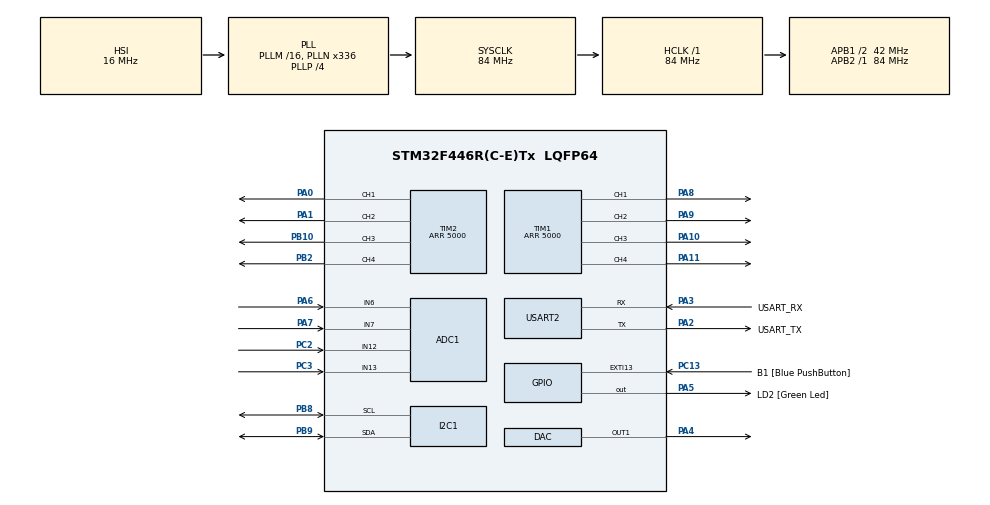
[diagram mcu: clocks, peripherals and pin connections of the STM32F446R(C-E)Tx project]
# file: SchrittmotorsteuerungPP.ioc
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ADC1.Channel-0\#ChannelRegularConversion=ADC_CHANNEL_6
ADC1.Channel-1\#ChannelRegularConversion=ADC_CHANNEL_7
ADC1.Channel-2\#ChannelRegularConversion=ADC_CHANNEL_12
ADC1.Channel-3\#ChannelRegularConversion=ADC_CHANNEL_13
ADC1.ContinuousConvMode=DISABLE
ADC1.DMAContinuousRequests=ENABLE
ADC1.EOCSelection=ADC_EOC_SEQ_CONV
ADC1.ExternalTrigConv=ADC_EXTERNALTRIGCONV_T2_TRGO
ADC1.ExternalTrigConvEdge=ADC_EXTERNALTRIGCONVEDGE_RISING
ADC1.NbrOfConversion=4
ADC1.NbrOfConversionFlag=1
ADC1.Rank-0\#ChannelRegularConversion=1
ADC1.Rank-1\#ChannelRegularConversion=2
ADC1.Rank-2\#ChannelRegularConversion=3
ADC1.Rank-3\#ChannelRegularConversion=4
ADC1.SamplingTime-0\#ChannelRegularConversion=ADC_SAMPLETIME_3CYCLES
ADC1.SamplingTime-1\#ChannelRegularConversion=ADC_SAMPLETIME_3CYCLES
ADC1.SamplingTime-2\#ChannelRegularConversion=ADC_SAMPLETIME_3CYCLES
ADC1.SamplingTime-3\#ChannelRegularConversion=ADC_SAMPLETIME_3CYCLES
ADC1.ScanConvMode=ENABLE
ADC1.master=1
Dma.ADC1.0.Direction=DMA_PERIPH_TO_MEMORY
Dma.ADC1.0.FIFOMode=DMA_FIFOMODE_DISABLE
Dma.ADC1.0.Instance=DMA2_Stream0
Dma.ADC1.0.MemDataAlignment=DMA_MDATAALIGN_WORD
Dma.ADC1.0.MemInc=DMA_MINC_ENABLE
Dma.ADC1.0.Mode=DMA_CIRCULAR
Dma.ADC1.0.PeriphDataAlignment=DMA_PDATAALIGN_WORD
Dma.ADC1.0.PeriphInc=DMA_PINC_DISABLE
Dma.ADC1.0.Priority=DMA_PRIORITY_VERY_HIGH
Dma.Request0=ADC1
I2C1.I2C_Mode=I2C_Fast
Mcu.Family=STM32F4
Mcu.Name=STM32F446R(C-E)Tx
Mcu.Package=LQFP64
NVIC.ADC_IRQn=true\:0\:0\:false\:false\:true\:true\:true\:true
NVIC.DMA2_Stream0_IRQn=true\:0\:0\:false\:false\:true\:false\:true\:true
NVIC.EXTI15_10_IRQn=true\:0\:0\:false\:false\:true\:true\:true\:true
NVIC.PriorityGroup=NVIC_PRIORITYGROUP_0
NVIC.TIM2_IRQn=true\:0\:0\:true\:false\:true\:true\:true\:true
NVIC.TIM3_IRQn=true\:0\:0\:false\:false\:true\:true\:true\:true
NVIC.USART2_IRQn=true\:0\:0\:false\:false\:true\:true\:true\:true
PA0-WKUP.GPIO_PuPd=GPIO_PULLDOWN
PA0-WKUP.GPIO_Speed=GPIO_SPEED_FREQ_VERY_HIGH
PA0-WKUP.Signal=S_TIM2_CH1_ETR
PA1.GPIO_PuPd=GPIO_PULLDOWN
PA1.GPIO_Speed=GPIO_SPEED_FREQ_VERY_HIGH
PA1.Signal=S_TIM2_CH2
PA10.GPIO_PuPd=GPIO_PULLDOWN
PA10.GPIO_Speed=GPIO_SPEED_FREQ_VERY_HIGH
PA10.Signal=S_TIM1_CH3
PA11.GPIO_PuPd=GPIO_PULLDOWN
PA11.GPIO_Speed=GPIO_SPEED_FREQ_VERY_HIGH
PA11.Signal=S_TIM1_CH4
PA13.GPIO_Label=TMS
PA13.Mode=Serial_Wire
PA13.Signal=SYS_JTMS-SWDIO
PA14.GPIO_Label=TCK
PA14.Mode=Serial_Wire
PA14.Signal=SYS_JTCK-SWCLK
PA2.GPIO_Label=USART_TX
PA2.Mode=Asynchronous
PA2.Signal=USART2_TX
PA3.GPIO_Label=USART_RX
PA3.Mode=Asynchronous
PA3.Signal=USART2_RX
PA4.Signal=COMP_DAC1_group
PA5.GPIO_Label=LD2 [Green Led]
PA5.Signal=GPIO_Output
PA6.GPIO_PuPd=GPIO_NOPULL
PA6.Signal=ADCx_IN6
PA7.Signal=ADCx_IN7
PA8.GPIO_PuPd=GPIO_PULLDOWN
PA8.GPIO_Speed=GPIO_SPEED_FREQ_VERY_HIGH
PA8.Signal=S_TIM1_CH1
PA9.GPIO_PuPd=GPIO_PULLDOWN
PA9.GPIO_Speed=GPIO_SPEED_FREQ_VERY_HIGH
PA9.Signal=S_TIM1_CH2
PB10.GPIO_PuPd=GPIO_PULLDOWN
PB10.GPIO_Speed=GPIO_SPEED_FREQ_VERY_HIGH
PB10.Signal=S_TIM2_CH3
PB2.GPIO_PuPd=GPIO_PULLDOWN
PB2.GPIO_Speed=GPIO_SPEED_FREQ_VERY_HIGH
PB2.Signal=S_TIM2_CH4
PB3.GPIO_Label=SWO
PB3.Signal=SYS_JTDO-SWO
PB8.GPIO_Pu=GPIO_PULLUP
PB8.Mode=I2C
PB8.Signal=I2C1_SCL
PB9.GPIO_Pu=GPIO_PULLUP
PB9.Mode=I2C
PB9.Signal=I2C1_SDA
PC13.GPIO_Label=B1 [Blue PushButton]
PC13.GPIO_ModeDefaultEXTI=GPIO_MODE_IT_FALLING
PC13.Signal=GPXTI13
PC14-OSC32_IN.Mode=LSE-External-Oscillator
PC14-OSC32_IN.Signal=RCC_OSC32_IN
PC15-OSC32_OUT.Mode=LSE-External-Oscillator
PC15-OSC32_OUT.Signal=RCC_OSC32_OUT
PC2.Signal=ADCx_IN12
PC3.Signal=ADCx_IN13
PH0-OSC_IN.Mode=HSE-External-Oscillator
PH0-OSC_IN.Signal=RCC_OSC_IN
PH1-OSC_OUT.Mode=HSE-External-Oscillator
PH1-OSC_OUT.Signal=RCC_OSC_OUT
ProjectManager.HeapSize=0x200
ProjectManager.StackSize=0x400
ProjectManager.TargetToolchain=STM32CubeIDE
RCC.48MHZClocksFreq_Value=84000000
RCC.AHBFreq_Value=84000000
RCC.APB1CLKDivider=RCC_HCLK_DIV2
RCC.APB1Freq_Value=42000000
RCC.APB1TimFreq_Value=84000000
RCC.APB2Freq_Value=84000000
RCC.APB2TimFreq_Value=84000000
RCC.CortexFreq_Value=84000000
RCC.FLatency-AdvancedSettings=FLASH_LATENCY_2
RCC.HCLKFreq_Value=84000000
RCC.HSE_VALUE=8000000
RCC.HSI_VALUE=16000000
RCC.PLLN=336
RCC.PLLP=RCC_PLLP_DIV4
RCC.SYSCLKFreq_VALUE=84000000
RCC.SYSCLKSource=RCC_SYSCLKSOURCE_PLLCLK
RCC.USBFreq_Value=168000000
RCC.VCOOutputFreq_Value=336000000
SH.ADCx_IN12.0=ADC1_IN12,IN12
SH.ADCx_IN13.0=ADC1_IN13,IN13
SH.ADCx_IN6.0=ADC1_IN6,IN6
SH.ADCx_IN7.0=ADC1_IN7,IN7
SH.COMP_DAC1_group.0=DAC_OUT1,DAC_OUT1
SH.S_TIM1_CH1.0=TIM1_CH1,PWM Generation1 CH1
SH.S_TIM1_CH2.0=TIM1_CH2,PWM Generation2 CH2
SH.S_TIM1_CH3.0=TIM1_CH3,PWM Generation3 CH3
SH.S_TIM1_CH4.0=TIM1_CH4,PWM Generation4 CH4
SH.S_TIM2_CH1_ETR.0=TIM2_CH1,PWM Generation1 CH1
SH.S_TIM2_CH2.0=TIM2_CH2,PWM Generation2 CH2
SH.S_TIM2_CH3.0=TIM2_CH3,PWM Generation3 CH3
SH.S_TIM2_CH4.0=TIM2_CH4,PWM Generation4 CH4
TIM1.Channel-PWM\ Generation1\ CH1=TIM_CHANNEL_1
TIM1.Channel-PWM\ Generation2\ CH2=TIM_CHANNEL_2
TIM1.Channel-PWM\ Generation3\ CH3=TIM_CHANNEL_3
TIM1.Channel-PWM\ Generation4\ CH4=TIM_CHANNEL_4
TIM1.CounterMode=TIM_COUNTERMODE_CENTERALIGNED1
TIM1.Period=5000
TIM2.Channel-PWM\ Generation1\ CH1=TIM_CHANNEL_1
TIM2.Channel-PWM\ Generation2\ CH2=TIM_CHANNEL_2
TIM2.Channel-PWM\ Generation3\ CH3=TIM_CHANNEL_3
TIM2.Channel-PWM\ Generation4\ CH4=TIM_CHANNEL_4
TIM2.CounterMode=TIM_COUNTERMODE_CENTERALIGNED1
TIM2.Period=5000
TIM2.TIM_MasterOutputTrigger=TIM_TRGO_UPDATE
TIM3.AutoReloadPreload=TIM_AUTORELOAD_PRELOAD_ENABLE
TIM3.Period=300
TIM3.Prescaler=84
TIM3.TIM_MasterOutputTrigger=TIM_TRGO_UPDATE
USART2.VirtualMode=VM_ASYNC
VP_TIM1_VS_ClockSourceINT.Mode=Internal
VP_TIM2_VS_ClockSourceINT.Mode=Internal
VP_TIM3_VS_ClockSourceINT.Mode=Internal
board=NUCLEO-F446RE

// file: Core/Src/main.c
/* USER CODE BEGIN Header */
/**
  ******************************************************************************
  * @file           : main.c
  * @brief          : Main program body
  ******************************************************************************
  * @attention
  *
  * Copyright (c) 2023 STMicroelectronics.
  * All rights reserved.
  *
  * This software is licensed under terms that can be found in the LICENSE file
  * in the root directory of this software component.
  * If no LICENSE file comes with this software, it is provided AS-IS.
  *
  ******************************************************************************
  */
/* USER CODE END Header */
#include "main.h"

/* USER CODE BEGIN Includes */

// Includes all C++ headers
#include "Interface.hpp"

// General include
#include <math.h>
#include <stdio.h>
#include <string.h>

#include "stm32f4xx_it.h"
#include "stm32f4xx_hal_rcc.h"

#include "ADC.h"
#include "DAC.h"
#include "PWM.h"
#include "STEP.h"
#include "Calibration.h"

/* USER CODE END Includes */

ADC_HandleTypeDef hadc1;
DMA_HandleTypeDef hdma_adc1;

DAC_HandleTypeDef hdac;

I2C_HandleTypeDef hi2c1;

TIM_HandleTypeDef htim1;
TIM_HandleTypeDef htim2;
TIM_HandleTypeDef htim3;

UART_HandleTypeDef huart2;

/* USER CODE BEGIN PV */

struct Coil A1;
struct Coil A2;
struct Coil B1;
struct Coil B2;

struct Status M_state;

int position = 0;		// Position in lookup table
uint32_t value[4];		// Array for DMA ADC values
int flag = 0;			// Measure flag
uint32_t mBuff[30][4];	// Measure buffer
int tCnt = 0;			// Counter fuer Mittelwerte
uint32_t val[4];		// Global array -> I_Controller

// UART configuration
#define length  8
uint8_t buffer[length];	// Buffer for UART RX

/* USER CODE END PV */

void SystemClock_Config(void);
static void MX_GPIO_Init(void);
static void MX_DMA_Init(void);
static void MX_USART2_UART_Init(void);
static void MX_I2C1_Init(void);
static void MX_TIM1_Init(void);
static void MX_TIM2_Init(void);
static void MX_ADC1_Init(void);
static void MX_DAC_Init(void);
static void MX_TIM3_Init(void);

int main(void)
{

  /* MCU Configuration--------------------------------------------------------*/

  /* Reset of all peripherals, Initializes the Flash interface and the Systick. */
  HAL_Init();

  /* Configure the system clock */
  SystemClock_Config();

  /* Initialize all configured peripherals */
  MX_GPIO_Init();
  MX_DMA_Init();
  MX_USART2_UART_Init();
  MX_I2C1_Init();
  MX_TIM1_Init();
  MX_TIM2_Init();
  MX_ADC1_Init();
  MX_DAC_Init();
  MX_TIM3_Init();
  /* USER CODE BEGIN 2 */

  // Start all PWM timers
  HAL_TIM_Base_Start_IT(&htim1);
  HAL_TIM_Base_Start_IT(&htim2);

  // Setup structures for coils

  // Coil A1;
  A1.HS_timer = &htim1;
  A1.HS_channel = 3;
  A1.LS_timer = &htim1;
  A1.LS_channel = 4;
  A1.Shunt = 0;

  // Coil A2;
  A2.HS_timer = &htim2;
  A2.HS_channel = 4;
  A2.LS_timer = &htim2;
  A2.LS_channel = 3;
  A2.Shunt = 1;

  // Coil B1;
  B1.HS_timer = &htim2;
  B1.HS_channel = 1;
  B1.LS_timer = &htim1;
  B1.LS_channel = 1;
  B1.Shunt = 2;

  // Coil B2;
  B2.HS_timer = &htim1;
  B2.HS_channel = 2;
  B2.LS_timer = &htim2;
  B2.LS_channel = 2;
  B2.Shunt = 3;

  // Machine state initialization
  M_state.ON = 0;
  M_state.SPEED = 0;
  M_state.S_LOSS = 0;
  M_state.S_TYPE = 0;
  M_state.STEPS = 0;
  M_state.active = 0;
  M_state.I_max = 0.150;

  // Start PWM on each channel
  HAL_TIM_PWM_Start(&htim1, TIM_CHANNEL_1);
  HAL_TIM_PWM_Start(&htim1, TIM_CHANNEL_2);
  HAL_TIM_PWM_Start(&htim1, TIM_CHANNEL_3);
  HAL_TIM_PWM_Start(&htim1, TIM_CHANNEL_4);

  HAL_TIM_PWM_Start(&htim2, TIM_CHANNEL_1);
  HAL_TIM_PWM_Start(&htim2, TIM_CHANNEL_2);
  HAL_TIM_PWM_Start(&htim2, TIM_CHANNEL_3);
  HAL_TIM_PWM_Start(&htim2, TIM_CHANNEL_4);

  printf("Schrittmotorsteuerung V2 gestartet!\n");

  // I2C Display
  DisplayInit();
  DisplayWrite("V2 Started!");

  // Start UART RX
  HAL_UART_Receive_IT(&huart2, buffer, length);

  // Kalibrierung (Einlesen des Motors)
  SetSpeed(1000, 10*84);
  Calibrate();
  tCnt = 0;

  /* USER CODE END 2 */

  /* Infinite loop */
  /* USER CODE BEGIN WHILE */
  while (1)
  {
	  // Anzahl der Messungen zwischen den Reglerzyklen
	  int messungen = 3;

	  Continuous(messungen, M_state.S_LOSS);

    /* USER CODE END WHILE */

  }
}

void SystemClock_Config(void)
{
  RCC_OscInitTypeDef RCC_OscInitStruct = {0};
  RCC_ClkInitTypeDef RCC_ClkInitStruct = {0};

  /** Configure the main internal regulator output voltage
  */
  __HAL_RCC_PWR_CLK_ENABLE();
  __HAL_PWR_VOLTAGESCALING_CONFIG(PWR_REGULATOR_VOLTAGE_SCALE3);

  /** Initializes the RCC Oscillators according to the specified parameters
  * in the RCC_OscInitTypeDef structure.
  */
  RCC_OscInitStruct.OscillatorType = RCC_OSCILLATORTYPE_HSI;
  RCC_OscInitStruct.HSIState = RCC_HSI_ON;
  RCC_OscInitStruct.HSICalibrationValue = RCC_HSICALIBRATION_DEFAULT;
  RCC_OscInitStruct.PLL.PLLState = RCC_PLL_ON;
  RCC_OscInitStruct.PLL.PLLSource = RCC_PLLSOURCE_HSI;
  RCC_OscInitStruct.PLL.PLLM = 16;
  RCC_OscInitStruct.PLL.PLLN = 336;
  RCC_OscInitStruct.PLL.PLLP = RCC_PLLP_DIV4;
  RCC_OscInitStruct.PLL.PLLQ = 2;
  RCC_OscInitStruct.PLL.PLLR = 2;
  if (HAL_RCC_OscConfig(&RCC_OscInitStruct) != HAL_OK)
  {
    Error_Handler();
  }

  /** Initializes the CPU, AHB and APB buses clocks
  */
  RCC_ClkInitStruct.ClockType = RCC_CLOCKTYPE_HCLK|RCC_CLOCKTYPE_SYSCLK
                              |RCC_CLOCKTYPE_PCLK1|RCC_CLOCKTYPE_PCLK2;
  RCC_ClkInitStruct.SYSCLKSource = RCC_SYSCLKSOURCE_PLLCLK;
  RCC_ClkInitStruct.AHBCLKDivider = RCC_SYSCLK_DIV1;
  RCC_ClkInitStruct.APB1CLKDivider = RCC_HCLK_DIV2;
  RCC_ClkInitStruct.APB2CLKDivider = RCC_HCLK_DIV1;

  if (HAL_RCC_ClockConfig(&RCC_ClkInitStruct, FLASH_LATENCY_2) != HAL_OK)
  {
    Error_Handler();
  }
}

static void MX_ADC1_Init(void)
{

  ADC_ChannelConfTypeDef sConfig = {0};

  /** Configure the global features of the ADC (Clock, Resolution, Data Alignment and number of conversion)
  */
  hadc1.Instance = ADC1;
  hadc1.Init.ClockPrescaler = ADC_CLOCK_SYNC_PCLK_DIV4;
  hadc1.Init.Resolution = ADC_RESOLUTION_12B;
  hadc1.Init.ScanConvMode = ENABLE;
  hadc1.Init.ContinuousConvMode = DISABLE;
  hadc1.Init.DiscontinuousConvMode = DISABLE;
  hadc1.Init.ExternalTrigConvEdge = ADC_EXTERNALTRIGCONVEDGE_RISING;
  hadc1.Init.ExternalTrigConv = ADC_EXTERNALTRIGCONV_T2_TRGO;
  hadc1.Init.DataAlign = ADC_DATAALIGN_RIGHT;
  hadc1.Init.NbrOfConversion = 4;
  hadc1.Init.DMAContinuousRequests = ENABLE;
  hadc1.Init.EOCSelection = ADC_EOC_SEQ_CONV;
  if (HAL_ADC_Init(&hadc1) != HAL_OK)
  {
    Error_Handler();
  }

  /** Configure for the selected ADC regular channel its corresponding rank in the sequencer and its sample time.
  */
  sConfig.Channel = ADC_CHANNEL_6;
  sConfig.Rank = 1;
  sConfig.SamplingTime = ADC_SAMPLETIME_3CYCLES;
  if (HAL_ADC_ConfigChannel(&hadc1, &sConfig) != HAL_OK)
  {
    Error_Handler();
  }

  /** Configure for the selected ADC regular channel its corresponding rank in the sequencer and its sample time.
  */
  sConfig.Channel = ADC_CHANNEL_7;
  sConfig.Rank = 2;
  if (HAL_ADC_ConfigChannel(&hadc1, &sConfig) != HAL_OK)
  {
    Error_Handler();
  }

  /** Configure for the selected ADC regular channel its corresponding rank in the sequencer and its sample time.
  */
  sConfig.Channel = ADC_CHANNEL_12;
  sConfig.Rank = 3;
  if (HAL_ADC_ConfigChannel(&hadc1, &sConfig) != HAL_OK)
  {
    Error_Handler();
  }

  /** Configure for the selected ADC regular channel its corresponding rank in the sequencer and its sample time.
  */
  sConfig.Channel = ADC_CHANNEL_13;
  sConfig.Rank = 4;
  if (HAL_ADC_ConfigChannel(&hadc1, &sConfig) != HAL_OK)
  {
    Error_Handler();
  }

}

static void MX_DAC_Init(void)
{

  DAC_ChannelConfTypeDef sConfig = {0};

  /** DAC Initialization
  */
  hdac.Instance = DAC;
  if (HAL_DAC_Init(&hdac) != HAL_OK)
  {
    Error_Handler();
  }

  /** DAC channel OUT1 config
  */
  sConfig.DAC_Trigger = DAC_TRIGGER_NONE;
  sConfig.DAC_OutputBuffer = DAC_OUTPUTBUFFER_ENABLE;
  if (HAL_DAC_ConfigChannel(&hdac, &sConfig, DAC_CHANNEL_1) != HAL_OK)
  {
    Error_Handler();
  }

}

static void MX_I2C1_Init(void)
{

  hi2c1.Instance = I2C1;
  hi2c1.Init.ClockSpeed = 400000;
  hi2c1.Init.DutyCycle = I2C_DUTYCYCLE_2;
  hi2c1.Init.OwnAddress1 = 0;
  hi2c1.Init.AddressingMode = I2C_ADDRESSINGMODE_7BIT;
  hi2c1.Init.DualAddressMode = I2C_DUALADDRESS_DISABLE;
  hi2c1.Init.OwnAddress2 = 0;
  hi2c1.Init.GeneralCallMode = I2C_GENERALCALL_DISABLE;
  hi2c1.Init.NoStretchMode = I2C_NOSTRETCH_DISABLE;
  if (HAL_I2C_Init(&hi2c1) != HAL_OK)
  {
    Error_Handler();
  }

}

static void MX_TIM1_Init(void)
{

  TIM_ClockConfigTypeDef sClockSourceConfig = {0};
  TIM_MasterConfigTypeDef sMasterConfig = {0};
  TIM_OC_InitTypeDef sConfigOC = {0};
  TIM_BreakDeadTimeConfigTypeDef sBreakDeadTimeConfig = {0};

  htim1.Instance = TIM1;
  htim1.Init.Prescaler = 0;
  htim1.Init.CounterMode = TIM_COUNTERMODE_CENTERALIGNED1;
  htim1.Init.Period = 5000;
  htim1.Init.ClockDivision = TIM_CLOCKDIVISION_DIV1;
  htim1.Init.RepetitionCounter = 0;
  htim1.Init.AutoReloadPreload = TIM_AUTORELOAD_PRELOAD_DISABLE;
  if (HAL_TIM_Base_Init(&htim1) != HAL_OK)
  {
    Error_Handler();
  }
  sClockSourceConfig.ClockSource = TIM_CLOCKSOURCE_INTERNAL;
  if (HAL_TIM_ConfigClockSource(&htim1, &sClockSourceConfig) != HAL_OK)
  {
    Error_Handler();
  }
  if (HAL_TIM_PWM_Init(&htim1) != HAL_OK)
  {
    Error_Handler();
  }
  sMasterConfig.MasterOutputTrigger = TIM_TRGO_RESET;
  sMasterConfig.MasterSlaveMode = TIM_MASTERSLAVEMODE_DISABLE;
  if (HAL_TIMEx_MasterConfigSynchronization(&htim1, &sMasterConfig) != HAL_OK)
  {
    Error_Handler();
  }
  sConfigOC.OCMode = TIM_OCMODE_PWM1;
  sConfigOC.Pulse = 0;
  sConfigOC.OCPolarity = TIM_OCPOLARITY_HIGH;
  sConfigOC.OCNPolarity = TIM_OCNPOLARITY_HIGH;
  sConfigOC.OCFastMode = TIM_OCFAST_DISABLE;
  sConfigOC.OCIdleState = TIM_OCIDLESTATE_RESET;
  sConfigOC.OCNIdleState = TIM_OCNIDLESTATE_RESET;
  if (HAL_TIM_PWM_ConfigChannel(&htim1, &sConfigOC, TIM_CHANNEL_1) != HAL_OK)
  {
    Error_Handler();
  }
  if (HAL_TIM_PWM_ConfigChannel(&htim1, &sConfigOC, TIM_CHANNEL_2) != HAL_OK)
  {
    Error_Handler();
  }
  if (HAL_TIM_PWM_ConfigChannel(&htim1, &sConfigOC, TIM_CHANNEL_3) != HAL_OK)
  {
    Error_Handler();
  }
  if (HAL_TIM_PWM_ConfigChannel(&htim1, &sConfigOC, TIM_CHANNEL_4) != HAL_OK)
  {
    Error_Handler();
  }
  sBreakDeadTimeConfig.OffStateRunMode = TIM_OSSR_DISABLE;
  sBreakDeadTimeConfig.OffStateIDLEMode = TIM_OSSI_DISABLE;
  sBreakDeadTimeConfig.LockLevel = TIM_LOCKLEVEL_OFF;
  sBreakDeadTimeConfig.DeadTime = 0;
  sBreakDeadTimeConfig.BreakState = TIM_BREAK_DISABLE;
  sBreakDeadTimeConfig.BreakPolarity = TIM_BREAKPOLARITY_HIGH;
  sBreakDeadTimeConfig.AutomaticOutput = TIM_AUTOMATICOUTPUT_DISABLE;
  if (HAL_TIMEx_ConfigBreakDeadTime(&htim1, &sBreakDeadTimeConfig) != HAL_OK)
  {
    Error_Handler();
  }
  HAL_TIM_MspPostInit(&htim1);

}

static void MX_TIM2_Init(void)
{

  TIM_ClockConfigTypeDef sClockSourceConfig = {0};
  TIM_MasterConfigTypeDef sMasterConfig = {0};
  TIM_OC_InitTypeDef sConfigOC = {0};

  htim2.Instance = TIM2;
  htim2.Init.Prescaler = 0;
  htim2.Init.CounterMode = TIM_COUNTERMODE_CENTERALIGNED1;
  htim2.Init.Period = 5000;
  htim2.Init.ClockDivision = TIM_CLOCKDIVISION_DIV1;
  htim2.Init.AutoReloadPreload = TIM_AUTORELOAD_PRELOAD_DISABLE;
  if (HAL_TIM_Base_Init(&htim2) != HAL_OK)
  {
    Error_Handler();
  }
  sClockSourceConfig.ClockSource = TIM_CLOCKSOURCE_INTERNAL;
  if (HAL_TIM_ConfigClockSource(&htim2, &sClockSourceConfig) != HAL_OK)
  {
    Error_Handler();
  }
  if (HAL_TIM_PWM_Init(&htim2) != HAL_OK)
  {
    Error_Handler();
  }
  sMasterConfig.MasterOutputTrigger = TIM_TRGO_UPDATE;
  sMasterConfig.MasterSlaveMode = TIM_MASTERSLAVEMODE_DISABLE;
  if (HAL_TIMEx_MasterConfigSynchronization(&htim2, &sMasterConfig) != HAL_OK)
  {
    Error_Handler();
  }
  sConfigOC.OCMode = TIM_OCMODE_PWM1;
  sConfigOC.Pulse = 0;
  sConfigOC.OCPolarity = TIM_OCPOLARITY_HIGH;
  sConfigOC.OCFastMode = TIM_OCFAST_DISABLE;
  if (HAL_TIM_PWM_ConfigChannel(&htim2, &sConfigOC, TIM_CHANNEL_1) != HAL_OK)
  {
    Error_Handler();
  }
  if (HAL_TIM_PWM_ConfigChannel(&htim2, &sConfigOC, TIM_CHANNEL_2) != HAL_OK)
  {
    Error_Handler();
  }
  if (HAL_TIM_PWM_ConfigChannel(&htim2, &sConfigOC, TIM_CHANNEL_3) != HAL_OK)
  {
    Error_Handler();
  }
  if (HAL_TIM_PWM_ConfigChannel(&htim2, &sConfigOC, TIM_CHANNEL_4) != HAL_OK)
  {
    Error_Handler();
  }
  HAL_TIM_MspPostInit(&htim2);

}

static void MX_TIM3_Init(void)
{

  TIM_ClockConfigTypeDef sClockSourceConfig = {0};
  TIM_MasterConfigTypeDef sMasterConfig = {0};

  htim3.Instance = TIM3;
  htim3.Init.Prescaler = 84;
  htim3.Init.CounterMode = TIM_COUNTERMODE_UP;
  htim3.Init.Period = 300;
  htim3.Init.ClockDivision = TIM_CLOCKDIVISION_DIV1;
  htim3.Init.AutoReloadPreload = TIM_AUTORELOAD_PRELOAD_ENABLE;
  if (HAL_TIM_Base_Init(&htim3) != HAL_OK)
  {
    Error_Handler();
  }
  sClockSourceConfig.ClockSource = TIM_CLOCKSOURCE_INTERNAL;
  if (HAL_TIM_ConfigClockSource(&htim3, &sClockSourceConfig) != HAL_OK)
  {
    Error_Handler();
  }
  sMasterConfig.MasterOutputTrigger = TIM_TRGO_UPDATE;
  sMasterConfig.MasterSlaveMode = TIM_MASTERSLAVEMODE_DISABLE;
  if (HAL_TIMEx_MasterConfigSynchronization(&htim3, &sMasterConfig) != HAL_OK)
  {
    Error_Handler();
  }

}

static void MX_USART2_UART_Init(void)
{

  huart2.Instance = USART2;
  huart2.Init.BaudRate = 115200;
  huart2.Init.WordLength = UART_WORDLENGTH_8B;
  huart2.Init.StopBits = UART_STOPBITS_1;
  huart2.Init.Parity = UART_PARITY_NONE;
  huart2.Init.Mode = UART_MODE_TX_RX;
  huart2.Init.HwFlowCtl = UART_HWCONTROL_NONE;
  huart2.Init.OverSampling = UART_OVERSAMPLING_16;
  if (HAL_UART_Init(&huart2) != HAL_OK)
  {
    Error_Handler();
  }

}

static void MX_DMA_Init(void)
{

  /* DMA controller clock enable */
  __HAL_RCC_DMA2_CLK_ENABLE();

  /* DMA interrupt init */
  /* DMA2_Stream0_IRQn interrupt configuration */
  HAL_NVIC_SetPriority(DMA2_Stream0_IRQn, 0, 0);
  HAL_NVIC_EnableIRQ(DMA2_Stream0_IRQn);

}

static void MX_GPIO_Init(void)
{
  GPIO_InitTypeDef GPIO_InitStruct = {0};

  /* GPIO Ports Clock Enable */
  __HAL_RCC_GPIOC_CLK_ENABLE();
  __HAL_RCC_GPIOH_CLK_ENABLE();
  __HAL_RCC_GPIOA_CLK_ENABLE();
  __HAL_RCC_GPIOB_CLK_ENABLE();

  /*Configure GPIO pin Output Level */
  HAL_GPIO_WritePin(LD2_GPIO_Port, LD2_Pin, GPIO_PIN_RESET);

  /*Configure GPIO pin : B1_Pin */
  GPIO_InitStruct.Pin = B1_Pin;
  GPIO_InitStruct.Mode = GPIO_MODE_IT_FALLING;
  GPIO_InitStruct.Pull = GPIO_NOPULL;
  HAL_GPIO_Init(B1_GPIO_Port, &GPIO_InitStruct);

  /*Configure GPIO pin : LD2_Pin */
  GPIO_InitStruct.Pin = LD2_Pin;
  GPIO_InitStruct.Mode = GPIO_MODE_OUTPUT_PP;
  GPIO_InitStruct.Pull = GPIO_NOPULL;
  GPIO_InitStruct.Speed = GPIO_SPEED_FREQ_LOW;
  HAL_GPIO_Init(LD2_GPIO_Port, &GPIO_InitStruct);

  /* EXTI interrupt init*/
  HAL_NVIC_SetPriority(EXTI15_10_IRQn, 0, 0);
  HAL_NVIC_EnableIRQ(EXTI15_10_IRQn);

}

/* USER CODE BEGIN 4 */

// Printf weiterleitung
int _write(int file, uint8_t *ptr, int len)
{
	HAL_UART_Transmit(&huart2, ptr, len, HAL_MAX_DELAY);
	return len;
}

/*
 * ###	Timer callback	###
 */
void HAL_TIM_PeriodElapsedCallback(TIM_HandleTypeDef *htim)
{

	// PWM timer
	if (htim == &htim2)
	{
		if (! (__HAL_TIM_IS_TIM_COUNTING_DOWN(htim)))
		{
			HAL_ADC_Start_DMA(&hadc1, value, 4);
		}
	}

	// Step timer
	if (htim == &htim3)
	{
		if (M_state.ON == 1)
		{
			if (M_state.STEPS > 0)
			{
				if (M_state.S_TYPE == 0)
				{
					fullstep_PID(M_state.DIR, &position);
				}
				else if (M_state.S_TYPE == 1)
				{
					halfstep_PID(M_state.DIR, &position);
				}
				else if (M_state.S_TYPE == 2)
				{
					microstep_PID(M_state.DIR, &position, 4);
				}
				else if (M_state.S_TYPE == 3)
				{
					microstep_PID(M_state.DIR, &position, 8);
				}
				else if (M_state.S_TYPE == 4)
				{
					microstep_PID(M_state.DIR, &position, 16);
				}
				else
				{
					HOLD();
				}

				M_state.STEPS--;

				if (M_state.STEPS == 0)
				{
					printf("DONE! \n");
				}
			}
			else
			{
				HOLD();
			}
		}
		else
		{
			//ALL_OFF();
			A1.w = 0;
			A2.w = 0;
			B1.w = 0;
			B2.w = 0;
		}
	}
}

/*
 * ###	ADC callback	###
 */
void HAL_ADC_ConvCpltCallback(ADC_HandleTypeDef *hadc)
{
	if (! (__HAL_TIM_IS_TIM_COUNTING_DOWN(&htim2)))
	{
		tCnt++;
		flag = 1;
	}
}

/*
 * ###	UART callback	###
 */
void HAL_UART_RxCpltCallback(UART_HandleTypeDef *huart)
{
	// Reactivate UART callback
	HAL_UART_Receive_IT(&huart2, buffer, length);

	M_state.ON 		= buffer[0];
	M_state.DIR 	= buffer[1];
	M_state.STEPS 	= buffer[2] * buffer[3];
	M_state.S_TYPE 	= buffer[4];
	M_state.S_LOSS 	= buffer[5];
	M_state.SPEED 	= buffer[6];

	// Strom
	M_state.I_max 	= (float) ((float)((uint8_t) buffer[7]) / 100.0f);
	printf("Strom: %.3f [A] \n", M_state.I_max);

	SetSpeed(1000, M_state.SPEED*84);
	DisplayStatus(M_state.ON, M_state.DIR, M_state.SPEED, M_state.S_TYPE);

	position = 0;
	M_state.active = 1;
}

/* USER CODE END 4 */

void Error_Handler(void)
{
  __disable_irq();
  while (1)
  {
  }
}
